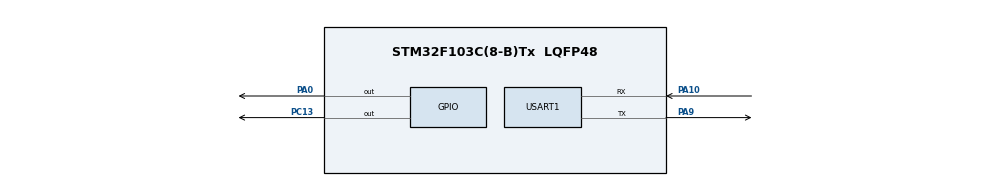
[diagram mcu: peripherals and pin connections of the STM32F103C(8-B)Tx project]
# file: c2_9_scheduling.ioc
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Mcu.Family=STM32F1
Mcu.Name=STM32F103C(8-B)Tx
Mcu.Package=LQFP48
NVIC.PriorityGroup=NVIC_PRIORITYGROUP_4
NVIC.TIM4_IRQn=true\:15\:0\:false\:false\:true\:false\:true\:true
NVIC.TimeBase=TIM4_IRQn
NVIC.TimeBaseIP=TIM4
PA0-WKUP.Signal=GPIO_Output
PA10.Mode=Asynchronous
PA10.Signal=USART1_RX
PA9.Mode=Asynchronous
PA9.Signal=USART1_TX
PC13-TAMPER-RTC.Signal=GPIO_Output
ProjectManager.HeapSize=0x200
ProjectManager.StackSize=0x400
ProjectManager.TargetToolchain=STM32CubeIDE
RCC.APB1Freq_Value=8000000
RCC.APB2Freq_Value=8000000
USART1.VirtualMode=VM_ASYNC
VP_SYS_VS_ND.Mode=No_Debug
VP_SYS_VS_tim4.Mode=TIM4
board=custom

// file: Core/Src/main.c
/* USER CODE BEGIN Header */
/**
  ******************************************************************************
  * @file           : main.c
  * @brief          : Main program body
  ******************************************************************************
  * @attention
  *
  * Copyright (c) 2025 STMicroelectronics.
  * All rights reserved.
  *
  * This software is licensed under terms that can be found in the LICENSE file
  * in the root directory of this software component.
  * If no LICENSE file comes with this software, it is provided AS-IS.
  *
  ******************************************************************************
  */
/* USER CODE END Header */
#include "main.h"

/* USER CODE BEGIN Includes */
#include "FreeRTOS.h"
#include "task.h"
/* USER CODE END Includes */

UART_HandleTypeDef huart1;

void SystemClock_Config(void);
static void MX_GPIO_Init(void);
static void MX_USART1_UART_Init(void);
/* USER CODE BEGIN PFP */
void task1_handler(void *parameters);
void task2_handler(void *parameters);

/* USER CODE END PFP */

int main(void)
{

  /* USER CODE BEGIN 1 */
	TaskHandle_t task1_handle;
	TaskHandle_t task2_handle;

    BaseType_t status;
  /* USER CODE END 1 */

  /* MCU Configuration--------------------------------------------------------*/

  /* Reset of all peripherals, Initializes the Flash interface and the Systick. */
  HAL_Init();

  /* Configure the system clock */
  SystemClock_Config();

  /* Initialize all configured peripherals */
  MX_GPIO_Init();
  MX_USART1_UART_Init();
  /* USER CODE BEGIN 2 */
  	  //status = xTaskCreate(task1_handler, "task1", 100, "hi, i am jai.i am an embedded engineer\n", 2, &task1_handle);
  	  status = xTaskCreate(task1_handler, "task1", 100, "task1\n", 2, &task1_handle);
  	  configASSERT( status == pdPASS);

      status = xTaskCreate(task2_handler, "task2", 100, "TASK2\n", 2, &task2_handle);
      configASSERT( status == pdPASS);

    // HAL_GPIO_WritePin(GPIOC, GPIO_Pin, PinState)

     vTaskStartScheduler();
  /* USER CODE END 2 */

  /* Infinite loop */
  while (1)
  {

  }
}

void SystemClock_Config(void)
{
  RCC_OscInitTypeDef RCC_OscInitStruct = {0};
  RCC_ClkInitTypeDef RCC_ClkInitStruct = {0};

  /** Initializes the RCC Oscillators according to the specified parameters
  * in the RCC_OscInitTypeDef structure.
  */
  RCC_OscInitStruct.OscillatorType = RCC_OSCILLATORTYPE_HSI;
  RCC_OscInitStruct.HSIState = RCC_HSI_ON;
  RCC_OscInitStruct.HSICalibrationValue = RCC_HSICALIBRATION_DEFAULT;
  RCC_OscInitStruct.PLL.PLLState = RCC_PLL_NONE;
  if (HAL_RCC_OscConfig(&RCC_OscInitStruct) != HAL_OK)
  {
    Error_Handler();
  }

  /** Initializes the CPU, AHB and APB buses clocks
  */
  RCC_ClkInitStruct.ClockType = RCC_CLOCKTYPE_HCLK|RCC_CLOCKTYPE_SYSCLK
                              |RCC_CLOCKTYPE_PCLK1|RCC_CLOCKTYPE_PCLK2;
  RCC_ClkInitStruct.SYSCLKSource = RCC_SYSCLKSOURCE_HSI;
  RCC_ClkInitStruct.AHBCLKDivider = RCC_SYSCLK_DIV1;
  RCC_ClkInitStruct.APB1CLKDivider = RCC_HCLK_DIV1;
  RCC_ClkInitStruct.APB2CLKDivider = RCC_HCLK_DIV1;

  if (HAL_RCC_ClockConfig(&RCC_ClkInitStruct, FLASH_LATENCY_0) != HAL_OK)
  {
    Error_Handler();
  }
}

static void MX_USART1_UART_Init(void)
{

  huart1.Instance = USART1;
  huart1.Init.BaudRate = 115200;
  huart1.Init.WordLength = UART_WORDLENGTH_8B;
  huart1.Init.StopBits = UART_STOPBITS_1;
  huart1.Init.Parity = UART_PARITY_NONE;
  huart1.Init.Mode = UART_MODE_TX_RX;
  huart1.Init.HwFlowCtl = UART_HWCONTROL_NONE;
  huart1.Init.OverSampling = UART_OVERSAMPLING_16;
  if (HAL_UART_Init(&huart1) != HAL_OK)
  {
    Error_Handler();
  }

}

static void MX_GPIO_Init(void)
{
  GPIO_InitTypeDef GPIO_InitStruct = {0};

  /* GPIO Ports Clock Enable */
  __HAL_RCC_GPIOC_CLK_ENABLE();
  __HAL_RCC_GPIOA_CLK_ENABLE();

  /*Configure GPIO pin Output Level */
  HAL_GPIO_WritePin(GPIOC, GPIO_PIN_13, GPIO_PIN_RESET);

  /*Configure GPIO pin Output Level */
  HAL_GPIO_WritePin(GPIOA, GPIO_PIN_0, GPIO_PIN_RESET);

  /*Configure GPIO pin : PC13 */
  GPIO_InitStruct.Pin = GPIO_PIN_13;
  GPIO_InitStruct.Mode = GPIO_MODE_OUTPUT_PP;
  GPIO_InitStruct.Pull = GPIO_NOPULL;
  GPIO_InitStruct.Speed = GPIO_SPEED_FREQ_LOW;
  HAL_GPIO_Init(GPIOC, &GPIO_InitStruct);

  /*Configure GPIO pin : PA0 */
  GPIO_InitStruct.Pin = GPIO_PIN_0;
  GPIO_InitStruct.Mode = GPIO_MODE_OUTPUT_PP;
  GPIO_InitStruct.Pull = GPIO_NOPULL;
  GPIO_InitStruct.Speed = GPIO_SPEED_FREQ_LOW;
  HAL_GPIO_Init(GPIOA, &GPIO_InitStruct);

}

/* USER CODE BEGIN 4 */
void task1_handler(void *parameters){
	for(;;){

		HAL_UART_Transmit(&huart1,parameters , 6, 1000);   //round robin

//		HAL_UART_Transmit(&huart1,parameters , 6, 1000);   //priority preemption
//		vTaskDelay(pdMS_TO_TICKS(1000));

//		HAL_UART_Transmit(&huart1,parameters , 6, 1000);   //co operative
//		taskYIELD();
	}
}

void task2_handler(void *parameters){
	for(;;){

		HAL_UART_Transmit(&huart1,parameters ,6, 1000);   //round robin

//		HAL_UART_Transmit(&huart1,parameters ,6, 1000);   //priority preemption
//		vTaskDelay(pdMS_TO_TICKS(1000));

//		HAL_UART_Transmit(&huart1,parameters ,6, 1000);   //co operative
//		taskYIELD();
	}

}

/* USER CODE END 4 */

void HAL_TIM_PeriodElapsedCallback(TIM_HandleTypeDef *htim)
{
  if (htim->Instance == TIM4)
  {
    HAL_IncTick();
  }
}

void Error_Handler(void)
{
  __disable_irq();
  while (1)
  {
  }
}
